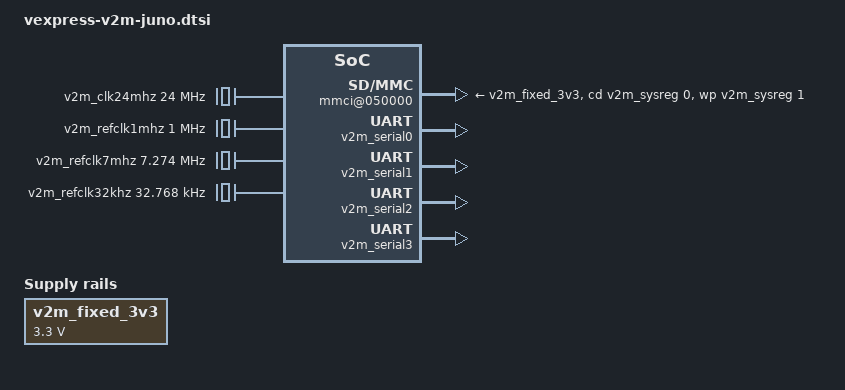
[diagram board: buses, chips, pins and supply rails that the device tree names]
/*
 * ARM Ltd. Versatile Express
 *
 * Motherboard Express uATX
 * V2M-P1
 *
 * HBI-0190D
 *
 * RS1 memory map ("ARM Cortex-A Series memory map" in the board's
 * Technical Reference Manual)
 *
 */

	motherboard {
		arm,v2m-memory-map = "rs1";
		compatible = "arm,vexpress,v2m-p1", "simple-bus";
		#address-cells = <2>; /* SMB chipselect number and offset */
		#size-cells = <1>;
		#interrupt-cells = <1>;
		ranges;

		v2m_clk24mhz: clk24mhz {
			compatible = "fixed-clock";
			#clock-cells = <0>;
			clock-frequency = <24000000>;
			clock-output-names = "v2m:clk24mhz";
		};

		v2m_refclk1mhz: refclk1mhz {
			compatible = "fixed-clock";
			#clock-cells = <0>;
			clock-frequency = <1000000>;
			clock-output-names = "v2m:refclk1mhz";
		};

		v2m_refclk7mhz: refclk7mhz {
			compatible = "fixed-clock";
			#clock-cells = <0>;
			clock-frequency = <7273800>;
			clock-output-names = "v2m:refclk7mhz";
		};

		v2m_refclk32khz: refclk32khz {
			compatible = "fixed-clock";
			#clock-cells = <0>;
			clock-frequency = <32768>;
			clock-output-names = "v2m:refclk32khz";
		};

		iofpga@3,00000000 {
			compatible = "arm,amba-bus", "simple-bus";
			#address-cells = <1>;
			#size-cells = <1>;
			ranges = <0 3 0 0x200000>;

			v2m_sysreg: sysreg@010000 {
				compatible = "arm,vexpress-sysreg";
				reg = <0x010000 0x1000>;
				gpio-controller;
				#gpio-cells = <2>;
			};

			mmci@050000 {
				compatible = "arm,pl180", "arm,primecell";
				reg = <0x050000 0x1000>;
				interrupts = <9 10>;
				cd-gpios = <&v2m_sysreg 0 0>;
				wp-gpios = <&v2m_sysreg 1 0>;
				max-frequency = <12000000>;
				vmmc-supply = <&v2m_fixed_3v3>;
				clocks = <&v2m_clk24mhz>, <&v2m_clk24mhz>;
				clock-names = "mclk", "apb_pclk";
			};

			v2m_serial0: uart@090000 {
				compatible = "arm,pl011", "arm,primecell";
				reg = <0x090000 0x1000>;
				interrupts = <69>;
				clocks = <&v2m_refclk7mhz>, <&v2m_refclk7mhz>;
				clock-names = "uartclk", "apb_pclk";
			};

			v2m_serial1: uart@0a0000 {
				compatible = "arm,pl011", "arm,primecell";
				reg = <0x0a0000 0x1000>;
				interrupts = <70>;
				clocks = <&v2m_refclk7mhz>, <&v2m_refclk7mhz>;
				clock-names = "uartclk", "apb_pclk";
			};

			v2m_serial2: uart@0b0000 {
				compatible = "arm,pl011", "arm,primecell";
				reg = <0x0b0000 0x1000>;
				interrupts = <7>;
				clocks = <&v2m_refclk7mhz>, <&v2m_refclk7mhz>;
				clock-names = "uartclk", "apb_pclk";
			};

			v2m_serial3: uart@0c0000 {
				compatible = "arm,pl011", "arm,primecell";
				reg = <0x0c0000 0x1000>;
				interrupts = <8>;
				clocks = <&v2m_refclk7mhz>, <&v2m_refclk7mhz>;
				clock-names = "uartclk", "apb_pclk";
			};

		};

		v2m_fixed_3v3: fixedregulator@0 {
			compatible = "regulator-fixed";
			regulator-name = "3V3";
			regulator-min-microvolt = <3300000>;
			regulator-max-microvolt = <3300000>;
			regulator-always-on;
		};
	};
